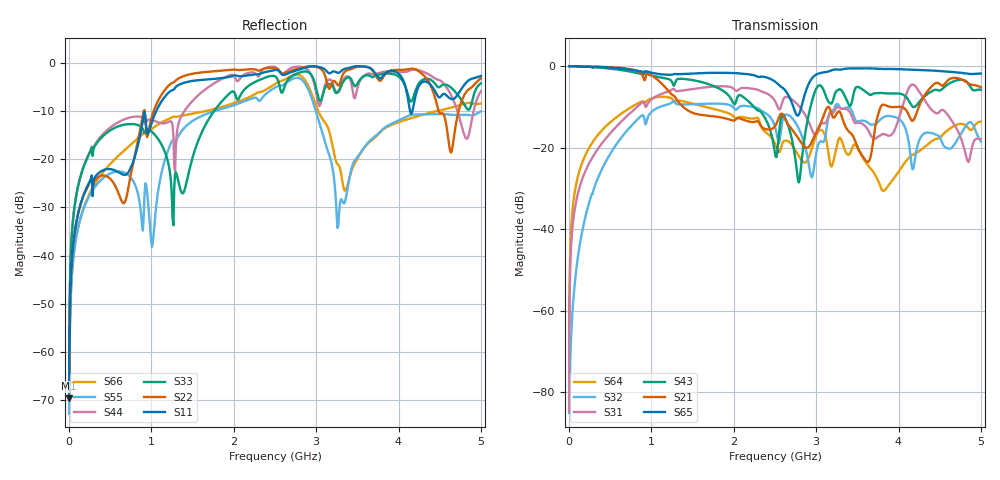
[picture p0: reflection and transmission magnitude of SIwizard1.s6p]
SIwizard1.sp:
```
* Netlist generated by SIwave - SI wizard
* SIwave Project: SIWAWE DENEME1

.model ModelTS S TSTONEFILE="C:/Users/guven/Desktop/-AESK-/ALL Documents/Drive Electric 2020/Elektrik/Motor Driver/BLDC Driver/[1] Hardware/[1] Power/Project Outputs for Power/odb/SIWAWE DENEME1.siwaveresults/Designer/SIwizard1.s6p" INTERPOLATION=LINEAR INTDATTYP=MA HIGHPASS=10 LOWPASS=10 convolution=0 enforce_passivity=0 Noisemodel=External
S1 CS_PHASE_A_3_1x3_PIN_PHASE_A CS_PHASE_A_3_ACS770LCB-050B-PFF-T_U1 CS_PHASE_B_3_1x3_PIN_PHASE_B CS_PHASE_B_3_ACS770LCB-050B-PFF-T_U3 CS_PHASE_C_3_1x3_PIN_PHASE_C CS_PHASE_C_3_ACS770LCB-050B-PFF-T_U4 FQMODEL="ModelTS"
* RECEIVER0
AEYEPROBE1 n1 COMPONENT=EYE_PROBE SOURCE_NAME=AEYESOURCEEYESRC0
Rterm1 n1 0 50
Vcnct1 n1 CS_PHASE_B_3_1x3_PIN_PHASE_B DC 0

* RECEIVER1
AEYEPROBE2 n2 COMPONENT=EYE_PROBE SOURCE_NAME=AEYESOURCEEYESRC1
Rterm2 n2 0 50
Vcnct2 n2 CS_PHASE_B_3_ACS770LCB-050B-PFF-T_U3 DC 0

* RECEIVER2
AEYEPROBE3 n3 COMPONENT=EYE_PROBE SOURCE_NAME=AEYESOURCEEYESRC2
Rterm3 n3 0 50
Vcnct3 n3 CS_PHASE_A_3_1x3_PIN_PHASE_A DC 0

* RECEIVER3
AEYEPROBE4 n4 COMPONENT=EYE_PROBE SOURCE_NAME=AEYESOURCEEYESRC3
Rterm4 n4 0 50
Vcnct4 n4 CS_PHASE_A_3_ACS770LCB-050B-PFF-T_U1 DC 0

* RECEIVER4
AEYEPROBE5 n5 COMPONENT=EYE_PROBE SOURCE_NAME=AEYESOURCEEYESRC4
Rterm5 n5 0 50
Vcnct5 n5 CS_PHASE_C_3_1x3_PIN_PHASE_C DC 0

* RECEIVER5
AEYEPROBE6 n6 COMPONENT=EYE_PROBE SOURCE_NAME=AEYESOURCEEYESRC5
Rterm6 n6 0 50
Vcnct6 n6 CS_PHASE_C_3_ACS770LCB-050B-PFF-T_U4 DC 0



.option num_threads=4
.TRAN 1E-10 2.5E-08
.print TRAN V(*)
```
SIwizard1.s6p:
! Touchstone(R) file created by SIwave 2020 R2
! Touchstone(R) file created on Tue Apr 20 08:41:09 2021
! Port[1] = CS_PHASE_A_3_1x3_PIN_PHASE_A
! Port[2] = CS_PHASE_A_3_ACS770LCB-050B-PFF-T_U1
! Port[3] = CS_PHASE_B_3_1x3_PIN_PHASE_B
! Port[4] = CS_PHASE_B_3_ACS770LCB-050B-PFF-T_U3
! Port[5] = CS_PHASE_C_3_1x3_PIN_PHASE_C
! Port[6] = CS_PHASE_C_3_ACS770LCB-050B-PFF-T_U4
! S-parameters
# Hz S MA R 50.000000
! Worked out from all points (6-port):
!   826 points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, 1 Hz to 5 GHz, reference 50 ohm
!   strongest paths, dB at 1 Hz, 19.95 kHz, 875.9 MHz, 2.938 GHz, 5 GHz:
!     S65: 0.0, 0.0, -1.3, -3.3, -1.8
!     S21: 0.0, 0.0, -1.8, -18.9, -5.1
!     S43: 0.0, 0.0, -1.9, -9.4, -5.8
!     S31: -84.8, -83.7, -9.1, -15.0, -17.9
!     S32: -84.8, -83.9, -12.2, -27.0, -18.5
!     S64: -78.7, -78.7, -8.7, -20.8, -13.6
!   lowest |S11| = -69.6 dB at 1 Hz (marker M1), VSWR 1.00, Z = 50 + j2.82e-05 ohm
!   |S11| at or under -10 dB: start of sweep to 1.059 GHz; 4.14 GHz to 4.169 GHz (29.56 MHz wide, 0.712 % of centre)
